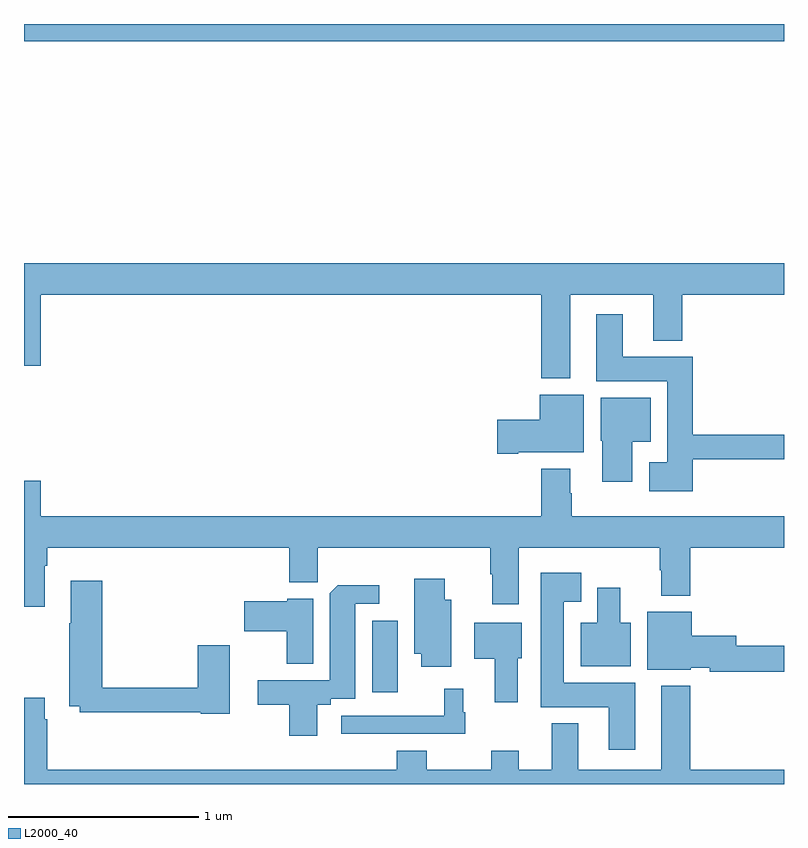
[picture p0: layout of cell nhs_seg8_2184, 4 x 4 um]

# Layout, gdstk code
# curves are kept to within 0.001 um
import gdstk
lib = gdstk.Library(unit=1e-6, precision=1e-09)
def R(c, l, rs):  # rectangles x0, y0, x1, y1
    for r in rs: c.add(gdstk.rectangle(r[:2], r[2:], *l))
def P(c, l, *ps):  # polygons
    for p in ps: c.add(gdstk.Polygon(p, *l))
L2000_40 = (2000, 40)

nhs_seg8_2184 = lib.new_cell('nhs_seg8_2184')
R(nhs_seg8_2184, L2000_40, [(250.832,1138.383,250.966,1138.759), (249,1141.808,253,1141.9)])
P(nhs_seg8_2184, L2000_40, [(251.875,1140.476),(252.311,1140.476),(252.311,1140.233),(252.464,1140.233),(252.464,1140.476),(253,1140.476),(253,1140.64),(249,1140.64),(249,1140.102),(249.088,1140.102),(249.088,1140.476),(251.723,1140.476),(251.723,1140.035),(251.875,1140.035)],
  [(252.521,1139.61),(253,1139.61),(253,1139.738),(252.521,1139.738),(252.521,1140.148),(252.151,1140.148),(252.151,1140.373),(252.011,1140.373),(252.011,1140.02),(252.386,1140.02),(252.386,1139.593),(252.291,1139.593),(252.291,1139.441),(252.521,1139.441)],
  [(251.602,1139.645),(251.947,1139.645),(251.947,1139.95),(251.714,1139.95),(251.714,1139.816),(251.49,1139.816),(251.49,1139.638),(251.602,1139.638)],
  [(252.202,1139.702),(252.298,1139.702),(252.298,1139.932),(252.035,1139.932),(252.035,1139.706),(252.044,1139.706),(252.044,1139.49),(252.202,1139.49)],
  [(249.109,1139.048),(249.122,1139.048),(249.122,1139.144),(250.397,1139.144),(250.397,1138.962),(250.547,1138.962),(250.547,1139.144),(251.453,1139.144),(251.453,1139.003),(251.465,1139.003),(251.465,1138.845),(251.605,1138.845),(251.605,1139.144),(252.346,1139.144),(252.346,1139.024),(252.353,1139.024),(252.353,1138.892),(252.506,1138.892),(252.506,1139.144),(253,1139.144),(253,1139.308),(251.883,1139.308),(251.883,1139.429),(251.875,1139.429),(251.875,1139.56),(251.723,1139.56),(251.723,1139.308),(249.088,1139.308),(249.088,1139.497),(249,1139.497),(249,1138.833),(249.109,1138.833)],
  [(252.217,1138.432),(251.842,1138.432),(251.842,1138.859),(251.932,1138.859),(251.932,1139.011),(251.72,1139.011),(251.72,1138.304),(252.077,1138.304),(252.077,1138.08),(252.217,1138.08)],
  [(251.248,1138.87),(251.215,1138.87),(251.215,1138.981),(251.054,1138.981),(251.054,1138.586),(251.09,1138.586),(251.09,1138.518),(251.248,1138.518)],
  [(250.084,1138.63),(249.914,1138.63),(249.914,1138.406),(249.413,1138.406),(249.413,1138.969),(249.245,1138.969),(249.245,1138.745),(249.238,1138.745),(249.238,1138.31),(249.294,1138.31),(249.294,1138.278),(249.93,1138.278),(249.93,1138.27),(250.084,1138.27)],
  [(250.543,1138.318),(250.614,1138.318),(250.614,1138.35),(250.744,1138.35),(250.744,1138.848),(250.87,1138.848),(250.87,1138.946),(250.652,1138.946),(250.61,1138.904),(250.61,1138.446),(250.23,1138.447),(250.23,1138.318),(250.396,1138.318),(250.396,1138.155),(250.543,1138.155)],
  [(252.193,1138.75),(252.139,1138.75),(252.139,1138.933),(252.017,1138.933),(252.017,1138.75),(251.93,1138.75),(251.93,1138.52),(252.193,1138.52)],
  [(250.522,1138.876),(250.386,1138.876),(250.386,1138.861),(250.158,1138.861),(250.158,1138.703),(250.382,1138.703),(250.382,1138.532),(250.522,1138.532)],
  [(253,1138.628),(252.748,1138.628),(252.748,1138.681),(252.514,1138.681),(252.514,1138.807),(252.281,1138.807),(252.281,1138.502),(252.51,1138.502),(252.51,1138.511),(252.61,1138.511),(252.61,1138.492),(253,1138.492)],
  [(251.599,1138.563),(251.62,1138.563),(251.62,1138.75),(251.369,1138.75),(251.369,1138.559),(251.477,1138.559),(251.477,1138.329),(251.599,1138.329)],
  [(253,1137.976),(252.506,1137.976),(252.506,1138.417),(252.353,1138.417),(252.353,1137.976),(251.917,1137.976),(251.917,1138.219),(251.777,1138.219),(251.777,1137.976),(251.605,1137.976),(251.605,1138.075),(251.458,1138.075),(251.458,1137.976),(251.121,1137.976),(251.121,1138.075),(250.961,1138.075),(250.961,1137.976),(249.122,1137.976),(249.122,1138.241),(249.109,1138.241),(249.109,1138.354),(249,1138.354),(249,1137.9),(253,1137.9)],
  [(251.323,1138.278),(251.311,1138.278),(251.311,1138.402),(251.212,1138.402),(251.212,1138.26),(250.671,1138.26),(250.671,1138.164),(251.323,1138.164)])

lib.write_gds('nhs_seg8_2184.gds')
